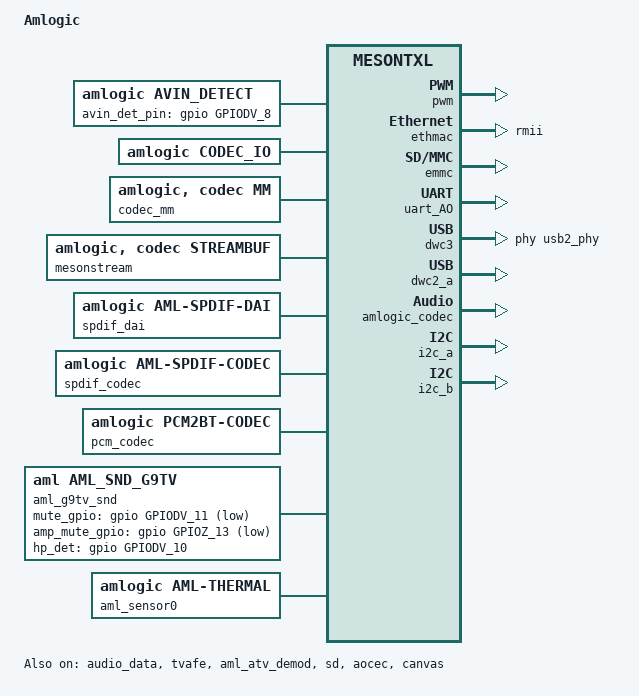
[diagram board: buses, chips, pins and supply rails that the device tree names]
/*
 * arch/arm64/boot/dts/amlogic/txl_t960_p346.dts
 *
 * Copyright (C) 2017 Amlogic, Inc. All rights reserved.
 *
 * This program is free software; you can redistribute it and/or modify
 * it under the terms of the GNU General Public License as published by
 * the Free Software Foundation; either version 2 of the License, or
 * (at your option) any later version.
 *
 * This program is distributed in the hope that it will be useful, but WITHOUT
 * ANY WARRANTY; without even the implied warranty of MERCHANTABILITY or
 * FITNESS FOR A PARTICULAR PURPOSE.  See the GNU General Public License for
 * more details.
 *
*/

/dts-v1/;

#include <dt-bindings/interrupt-controller/arm-gic.h>
#include <dt-bindings/clock/txl.h>
#include <dt-bindings/gpio/txl.h>
#include <dt-bindings/gpio/gpio.h>
#include <dt-bindings/reset/aml_txl.h>
#include <dt-bindings/pwm/pwm.h>
#include <dt-bindings/pwm/meson.h>

#include "mesontxl.dtsi"
#include "mesontxl_t960_p346-panel.dtsi"

/ {
	model = "Amlogic";
	compatible = "amlogic, txl";
	amlogic-dt-id = "txl_p346_v1";
	interrupt-parent = <&gic>;
	#address-cells = <2>;
	#size-cells = <2>;

	aliases {
		serial0 = &uart_AO;
		serial1 = &uart_A;
		serial2 = &uart_B;
		serial3 = &uart_C;
		serial4 = &uart_AO_B;
	};

	memory@00000000 {
		device_type = "memory";
		linux,usable-memory = <0x0 0x0100000 0x0 0x3ff00000>;
	};

	reserved-memory {
		#address-cells = <2>;
		#size-cells = <2>;
		ranges;
		/* global autoconfigured region for contiguous allocations */
		secmon_reserved:linux,secmon {
			compatible = "amlogic, aml_secmon_memory";
			reg = <0x0 0x10000000 0x0 0x200000>;
			no-map;
		};

		secos_reserved:linux,secos {
			status = "disable";
			compatible = "amlogic, aml_secos_memory";
			reg = <0x0 0x05300000 0x0 0x2000000>;
			no-map;
		};

		pstore:aml_pstore {
			compatible = "amlogic, pstore";
			reg = <0x0 0x07300000 0x0 0x100000>;
			no-map;
		};

		fb_reserved:linux,meson-fb {
			compatible = "amlogic, fb-memory";
			size = <0x0 0x2000000>;
			no-map;
		};
		/*di reserved mem*/
		di_reserved:linux,di {
			compatible = "amlogic, di-mem";
			/* buffer_size = 3621952(yuv422 8bit) | 4736064(yuv422 10bit) | 4179008(yuv422 10bit full pack mode) */
			/** 10x3621952=34.6M(0x23) support 8bit **/
			/** 10x4736064=45.2M(0x2e) support 12bit **/
			/** 10x4179008=40M(0x28) support 10bit **/
			size = <0x0 0x2800000>;
			//no-map;
		};
		/*di CMA pool */
		//di_cma_reserved:linux,di_cma {
			//compatible = "shared-dma-pool";
			//reusable;
			/* buffer_size = 3621952(yuv422 8bit) | 4736064(yuv422 10bit) | 4179008(yuv422 10bit full pack mode) */
			/** 10x3621952=34.6M(0x23) support 8bit **/
			/** 10x4736064=45.2M(0x2e) support 12bit **/
			/** 10x4179008=40M(0x28) support 10bit **/
			//size = <0x0 0x02800000>;
			//alignment = <0x0 0x400000>;
		//};
		demod_reserved:linux,demod {
			compatible = "amlogic, demod-mem";
			size = <0x0 0x600000>; //20m
			multi-use;
			//no-map;
		};

		ion_reserved:linux,ion-dev {
			compatible = "amlogic, idev-mem";
			size = <0x0 0x2000000>;
		};

		/*  POST PROCESS MANAGER */
		ppmgr_reserved:linux,ppmgr {
			compatible = "amlogic, ppmgr_memory";
			size = <0x0 0x0>;
			multi-use;
		};
		codec_mm_cma:linux,codec_mm_cma {
			compatible = "shared-dma-pool";
			reusable;
			size = <0x0 0xbc00000>;
			alignment = <0x0 0x400000>;
			linux,contiguous-region;
		};

		picdec_cma_reserved:linux,picdec {
			compatible = "shared-dma-pool";
			reusable;
			size = <0x0 0x0>;
			alignment = <0x0 0x0>;
			linux,contiguous-region;
		};

		/* codec shared reserved */
		codec_mm_reserved:linux,codec_mm_reserved {
			compatible = "amlogic, codec-mm-reserved";
			size = <0x0 0x4100000>;
			alignment = <0x0 0x100000>;
 			//no-map;
		};
		/*  vdin0 CMA pool */
		//vdin0_cma_reserved:linux,vdin0_cma {
		//	compatible = "shared-dma-pool";
		//	linux,phandle = <4>;
		//	reusable;
			/* 3840x2160x2x4  =64+4 M */
		//	size = <0x0 0x04400000>;
		//	alignment = <0x0 0x400000>;
		//};
		/*  vdin1 CMA pool */
		vdin1_cma_reserved:linux,vdin1_cma {
			compatible = "shared-dma-pool";
			linux,phandle = <5>;
			reusable;
			/* 1920x1080x2x4  =16+4 M */
			size = <0x0 0x01400000>;
			alignment = <0x0 0x400000>;
		};
		/*  tvafe CMA pool */
		//tvafe_cma_reserved:linux,tvafe_cma {
		//	compatible = "shared-dma-pool";
		//	linux,phandle = <6>;
		//	reusable;
			/* 5 M */
		//	size = <0x0 0x00800000>;
		//	alignment = <0x0 0x400000>;
		//};
	};

	pwm {
		compatible = "amlogic, meson-pwm";
		status = "okay";
		pwm-outputs 	= <PWM_A>,<PWM_B>,<PWM_C>,<PWM_D>,
			      	  <PWM_E>,<PWM_F>,<PWM_AO_A>,<PWM_AO_B>;
		pwm-outputs-new = <PWM_A>,<PWM_B>,<PWM_C>,<PWM_D>,
				  <PWM_E>,<PWM_F>,<PWM_AO_A>,<PWM_AO_B>,
			          <PWM_A2>,<PWM_B2>,<PWM_C2>,<PWM_D2>,
			          <PWM_E2>,<PWM_F2>,<PWM_AO_A2>,<PWM_AO_B2>;
		reg = <0x0 0xc1108550 0x0 0x30>,
		      <0x0 0xc8100550  0x0 0x10>;
		clocks = <&clock CLK_XTAL>,
			 <&clock CLK_VID_PLL>,
			 <&clock CLK_FPLL_DIV4>,
			 <&clock CLK_FPLL_DIV3>;
		clock-names = "xtal",
			      "vid_pll_clk",
			      "fclk_div4",
			      "fclk_div3";
		clock-select = <XTAL_CLK>,<XTAL_CLK>,<XTAL_CLK>,<XTAL_CLK>,
			       	   <XTAL_CLK>,<XTAL_CLK>,<XTAL_CLK>,<XTAL_CLK>;
		clock-select-new = <XTAL_CLK>,<XTAL_CLK>,<XTAL_CLK>,<XTAL_CLK>,
		                   <XTAL_CLK>,<XTAL_CLK>,<XTAL_CLK>,<XTAL_CLK>,
		                   <XTAL_CLK>,<XTAL_CLK>,<XTAL_CLK>,<XTAL_CLK>,
		                   <XTAL_CLK>,<XTAL_CLK>,<XTAL_CLK>,<XTAL_CLK>;
		                   /*all channels use the default clock source XTAL_CLK*/
		                   /*and you can shoose it in file dt-bindings/pwm/meson.h*/
	};

	sysled {
		compatible = "amlogic, sysled";
		dev_name = "sysled";
		status = "disable";
		//led_gpio = <&gpio GPIODV_24 GPIO_ACTIVE_LOW>;
	};

	avin_detect {
		compatible = "amlogic, avin_detect";
		status = "okay";
		avin_device_num = <1>;
		interrupts = <0 65 1>;
		pinctrl-names = "avin_gpio_disable_pullup";
		pinctrl-0 = <&avin_gpio_disable_pull>;
		avin_det_pin =  <&gpio       GPIODV_8       GPIO_ACTIVE_HIGH>;
		detect_interval_length = <100>;
		set_detect_times = <5>;
		set_fault_tolerance = <1>;
	};

	meson-vout {
		compatible = "amlogic, meson-vout";
		dev_name = "meson-vout";
		status = "okay";
	};

	meson-fb {
		compatible = "amlogic, meson-fb";
		memory-region = <&fb_reserved>;
		dev_name = "meson-fb";
		status = "okay";
		interrupts = <0 3 1
			0 89 1>;
		interrupt-names = "viu-vsync", "rdma";
		mem_size = <0x01800000 0x00100000>; /* fb0/fb1 memory size */
		display_mode_default = "1080p60hz";
		scale_mode = <1>; /** 0:VPU free scale 1:OSD free scale 2:OSD super scale */
		display_size_default = <1920 1080 1920 3240 32>; //1920*1080*4*3 = 0x17BB000
		pxp_mode = <0>; /** 0:normal mode 1:pxp mode */
	};

	ge2d {
		compatible = "amlogic, ge2d";
		dev_name = "ge2d";
		status = "okay";
		interrupts = <0 150 1>;
		interrupt-names = "ge2d";
		clocks = <&clock CLK_VAPB_0>,
			<&clock CLK_GE2D>;
		clock-names = "clk_vapb_0",
				"clk_ge2d";
		resets = <&clock GCLK_IDX_GE2D>;
		reset-names = "ge2d";
	};

	codec_io {
		compatible = "amlogic, codec_io";
		#address-cells=<2>;
		#size-cells=<2>;
		ranges;
		io_cbus_base{
			reg = <0x0 0xC1100000 0x0 0x100000>;
		};
		io_dos_base{
			reg = <0x0 0xc8820000 0x0 0x10000>;
		};
		io_hiubus_base{
			reg = <0x0 0xc883c000 0x0 0x2000>;
		};
		io_aobus_base{
			reg = <0x0 0xc8100000 0x0 0x100000>;
		};
		io_vcbus_base{
			reg = <0x0 0xd0100000 0x0 0x40000>;
		};
		io_dmc_base{
			reg = <0x0 0xc8838000 0x0 0x400>;
		};
	};

	codec_mm {
			compatible = "amlogic, codec, mm";
			memory-region = <&codec_mm_cma &codec_mm_reserved>;
			dev_name = "codec_mm";
			status = "okay";
	};
	ethmac: ethernet@0xc9410000 {
			compatible = "amlogic, gxbb-rmii-dwmac";
			reg = <0x0 0xc9410000 0x0 0x10000
			0x0 0xc8834540 0x0 0x8
			0x0 0xc8834558 0x0 0xc
			0x0 0xc1104484 0x0 0x4>;
			interrupts = <0 8 1
						  0 9 1>;
			phy-mode= "rmii";
			mc_val = <0x1800>;
			resets = <&clock GCLK_IDX_ETHERNET>;
			reset-names = "ethpower";
			interrupt-names = "macirq",
							  "phyirq";
			clocks = <&clock CLK_81>;
			clock-names = "ethclk81";
			internal_phy=<1>;
			wol=<0>;
	};
	mesonstream {
		compatible = "amlogic, codec, streambuf";
		dev_name = "mesonstream";
		status = "okay";
		resets = <&clock GCLK_IDX_HIU_PARSER_TOP
			&clock GCLK_IDX_VPU_INTR
			&clock GCLK_IDX_DEMUX
			&clock GCLK_IDX_DOS>;
		reset-names = "parser_top",
			"vpu_intr",
			"demux",
			"vdec";
	};

	amvideocap {
		compatible = "amlogic, amvideocap";
		dev_name = "amvideocap.0";
		status = "okay";
		max_size = <8>;//8M
	};

	ion_dev {
		compatible = "amlogic, ion_dev";
		memory-region = <&ion_reserved>;
	};

	vdec {
		compatible = "amlogic, vdec";
		dev_name = "vdec.0";
		status = "okay";
		interrupts = <0 3 1
			0 23 1
			0 32 1
			0 43 1
			0 44 1
			0 45 1>;
		interrupt-names = "vsync",
			"demux",
			"parser",
			"mailbox_0",
			"mailbox_1",
			"mailbox_2";
	};

	picdec {
		   compatible = "amlogic, picdec";
		   memory-region = <&picdec_cma_reserved>;
		   dev_name = "picdec";
		   status = "okay";
	};

	ppmgr {
		compatible = "amlogic, ppmgr";//to match of_device_id's compatible member
		memory-region = <&ppmgr_reserved>;
		dev_name = "ppmgr";
		status = "okay";
	};

	deinterlace {
		compatible = "amlogic, deinterlace";
		status = "okay";
		flag_cma = <0>;/*0:use reserved;1:use cma*/
		memory-region = <&di_reserved>;
		//memory-region = <&di_cma_reserved>;
		interrupts = <0 46 1
				0 6 1>;
		interrupt-names = "de_irq",
				"timerc";
		/* nr_size(byte) = 1920*544*2(yuv422 8bit) | 2944*544*2*8(yuv422 10bit) | 2432*544*2(yuv422 10bit full pack mode) */
		/* mtn_size(byte) = 2048*544/2 */
		/* count_size(byte) = 2048*544/2 */
		/* mv_size(byte) = 1920*544*2/5 */
		/* mc_size(byte) = 544*2 */
		/* buffer_size = nr_size + mtn_size + count_size + mv_size + mc_size */
		/* buffer_size = 3621952(yuv422 8bit) | 4736064(yuv422 10bit) | 4179008(yuv422 10bit full pack mode) */
		buffer-size = <4179008>;
		hw-version = <2>;
		/* reserve-iomap = "true"; */
		/* if enable nr10bit, set nr10bit-surpport to 1 */
		nr10bit-surpport = <1>;
	};

	vdin0 {
		compatible = "amlogic, vdin";
		/*memory-region = <&vdin0_cma_reserved>;*/
		dev_name = "vdin0";
		status = "ok";
		reserve-iomap = "true";
		flag_cma = <1>;/*1:share with codec_mm;2:cma alone*/
		/*MByte, if 10bit disable: 64M(YUV422), if 10bit enable: 64*1.5 = 96M(YUV422)
		*if support 4K2K-YUV444-10bit-WR:3840*2160*4*4 ~= 128M
		*if support 4K2K-YUV422-10bit-wr:3840*2160*3*4 ~= 96M
		*if support 4K2K-YUV422-8BIT-WR:3840*2160*2*4 ~= 64M
		*if support 1080p-YUV422-8BIT-WR:1920*1080*2*4 ~= 16M*/
		cma_size = <96>;
		interrupts = <0 83 1>;
		rdma-irq = <2>;
		clocks = <&clock CLK_FPLL_DIV5>,
			<&clock CLK_VDIN_MEAS_CLK>;
		clock-names = "fclk_div5", "cts_vdin_meas_clk";
		vdin_id = <0>;
		/*vdin write mem color depth support:
		*bit0:support 8bit
		*bit1:support 9bit
		*bit2:support 10bit
		*bit3:support 12bit
		*bit4:support yuv422 10bit full pack mode (from txl new add)*/
		tv_bit_mode = <21>;
	};
	vdin1 {
		compatible = "amlogic, vdin";
		memory-region = <&vdin1_cma_reserved>;
		dev_name = "vdin1";
		status = "ok";
		reserve-iomap = "true";
		flag_cma = <0>;/*1:share with codec_mm;0:cma alone*/
		interrupts = <0 85 1>;
		rdma-irq = <4>;
		clocks = <&clock CLK_FPLL_DIV5>,
			<&clock CLK_VDIN_MEAS_CLK>;
		clock-names = "fclk_div5", "cts_vdin_meas_clk";
		vdin_id = <1>;
		/*vdin write mem color depth support:
		*bit0:support 8bit
		*bit1:support 9bit
		*bit2:support 10bit
		*bit3:support 12bit*/
		tv_bit_mode = <1>;
	};
	tvafe {
		compatible = "amlogic, tvafe";
		/*memory-region = <&tvafe_cma_reserved>;*/
		dev_name = "tvafe";
		status = "ok";
		flag_cma = <1>;/*1:share with codec_mm;0:cma alone*/
		cma_size = <5>;/*MByte*/
		reg = <0x0 0xc8842000 0x0 0x2000>;
		reserve-iomap = "true";
		tvafe_id = <0>;
		pinctrl-names = "default";
		tvafe_pin_mux = < /*!!particular sequence, no more and no less!!!*/
                        3       /*// TVAFE_CVBS_IN2,  //CVBS_IN0 = 0,*/
                        1       /*// TVAFE_CVBS_IN0,    //CVBS_IN1,*/
                        2       /*// TVAFE_CVBS_IN1,  //CVBS_IN2*/
                        4       /*// TVAFE_CVBS_IN3,    //CVBS_IN3,*/
		>;
	};
	amlvecm {
		compatible = "amlogic, vecm";
		dev_name = "aml_vecm";
		status = "okay";
		gamma_en = <1>;/*1:enabel ;0:disable*/
		wb_en = <1>;/*1:enabel ;0:disable*/
		cm_en = <1>;/*1:enabel ;0:disable*/
	};

	aml_atv_demod {
		compatible = "amlogic, aml_atv_demod";
		dev_name = "aml_atv_demod";
		status = "okay";
		pinctrl-names="atvdemod_agc";
		pinctrl-0=<&atvdemod_agc>;
		reg = <0x0 0xc8840000 0x0 0x2000>;
		reg_23cf = <0x88188832>;/*default:0x88188832;r840 on haier:0x48188832*/
	};

	hdmirx {
		compatible = "amlogic, hdmirx";
		dev_name = "hdmirx";
		status = "ok";
		pinctrl-names = "hdmirx_pins","hu_det_none";
		pinctrl-0 = <&hdmirx_pins>;
		pinctrl-1 = <&hu_det_none>;
		rx_port_maps = <0x3120>;
		repeat = <0>;
		interrupts = <0 56 1>;
		hdmirx_addr_port = <0xda846000>;
		hdmirx_data_port = <0xda846004>;
		hdmirx_ctrl_port = <0xda846008>;
		clocks = <&clock CLK_HDMIRX_MODET_CLK>,
			<&clock CLK_HDMIRX_CFG_CLK>,
			<&clock CLK_HDMIRX_ACR_REF_CLK>,
			<&clock CLK_HDMIRX_AUDMEAS_CLK>,
			<&clock CLK_XTAL>,
			<&clock CLK_FPLL_DIV5>;
		clock-names = "hdmirx_modet_clk",
			"hdmirx_cfg_clk",
			"hdmirx_acr_ref_clk",
			"hdmirx_audmeas_clk",
			"xtal",
			"fclk_div5";
		hdmirx_id = <0>;
		en_4k_2_2k = <0>;
 	};

	amvenc_avc {
		compatible = "amlogic, amvenc_avc";
		//memory-region = <&amvenc_avc_reserved>;
		//memory-region = <&avc_cma_reserved>;
		dev_name = "amvenc_avc";
		status = "okay";
		interrupts = <0 45 1>;
		interrupt-names = "mailbox_2";
	};

	vpu {
		compatible = "amlogic, vpu";
		dev_name = "vpu";
		status = "ok";
		clk_level = <7>;
		/**	0: 100.0M    1: 166.7M    2: 200.0M
			3: 250.0M    4: 333.3M    5: 400.0M
			6: 500.0M    7: 666.7M */
	};

	bt-dev{
		compatible = "amlogic, bt-dev";
		dev_name = "bt-dev";
		status = "disabled";
		//gpio_reset = <&gpio GPIOX_18 GPIO_ACTIVE_HIGH>;
	};

	rtc{
		compatible = "amlogic, aml_vrtc";
		alarm_reg_addr = <0xc81000a8>;
		timer_e_addr = <0xc1109988>;
		init_date = "2015/01/01";
		status = "okay";
	};

	wifi {
		compatible = "amlogic, aml_wifi";
		dev_name = "aml_wifi";
		status = "disabled";
		//interrupt_pin = <&gpio       GPIOX_7       GPIO_ACTIVE_HIGH>;
		//interrupts = <	0 68 4>;
		//irq_trigger_type = "GPIO_IRQ_HIGH";
		power_on_pin = <&gpio_ao       GPIOAO_5       GPIO_ACTIVE_HIGH>;
		pwm_config = <&wifi_pwm_conf>;
	};
 	wifi_pwm_conf:wifi_pwm_conf{
		pwm_channel1 = <PWM_C>;/*change it actually*/
		pwm_channel2 = <PWM_C2>;
		pwm_channel1_conf = <30541 15270 6>;
		pwm_channel2_conf = <30518 15259 9>;
	};

	emmc {
		compatible = "amlogic, aml_sd_emmc";
		dev_name = "aml_newsd.0";
		status = "okay";
		reg = <0x0 0xd0074000 0x0 0x2000>;
		interrupts = <	0 218 1>;
		pinctrl-names = "emmc_clk_cmd_pins", "emmc_all_pins";
		pinctrl-0 = <&emmc_clk_cmd_pins>;
		pinctrl-1 = <&emmc_conf_pull_up &emmc_conf_pull_done &emmc_all_pins>;
		emmc {
			status = "okay";
			pinname = "emmc";
			ocr_avail = <0x200080>; /**VDD voltage 3.3 ~ 3.4 */
			caps = "MMC_CAP_8_BIT_DATA","MMC_CAP_MMC_HIGHSPEED",
				 "MMC_CAP_SD_HIGHSPEED", "MMC_CAP_NONREMOVABLE","MMC_CAP_1_8V_DDR",
				 "MMC_CAP_HW_RESET", "MMC_CAP_ERASE", "MMC_CAP_CMD23";
			caps2 = "MMC_CAP2_HS200", "MMC_CAP2_HS400";
			f_min = <300000>;
			f_max = <100000000>;
			tx_phase = <3>;
			max_req_size = <0x20000>; /* 256KB */
			gpio_dat3 = <&gpio BOOT_3 GPIO_ACTIVE_HIGH>;
			hw_reset =  <&gpio BOOT_9 GPIO_ACTIVE_HIGH>;
			card_type = <1>; /* 1:mmc card(include eMMC), 2:sd card(include tSD), */
		};
	};

	sd {
		compatible = "amlogic, aml_sd_emmc";
		dev_name = "aml_newsd.0";
		status = "okay";
		reg = <0x0 0xd0072000 0x0 0x2000>;
		interrupts = <	0 217 1
				0 67 1
				0 69 1>;
		pinctrl-names = "sd_clk_cmd_pins", "sd_all_pins", "sd_1bit_pins","sd_clk_cmd_uart_pins","sd_1bit_uart_pins", "ao_to_sd_uart_pins","ao_to_sd_jtag_pins";
		pinctrl-0 = <&sd_clk_cmd_pins>;
		pinctrl-1 = <&sd_all_pins>;
		pinctrl-2 = <&sd_1bit_pins>;
		pinctrl-3 = <&sd_clk_cmd_uart_pins>;
		pinctrl-4 = <&sd_1bit_uart_pins>;
		pinctrl-5 = <&ao_to_sd_uart_pins>;
		pinctrl-6 = <&ao_to_sd_jtag_pins>;
		sd {
			status = "okay";
	   		pinname = "sd";
	   		ocr_avail = <0x00200080>; // 3.3:0x200000, 1.8+3.3:0x00200080
	   		caps = "MMC_CAP_4_BIT_DATA","MMC_CAP_MMC_HIGHSPEED",
	   			"MMC_CAP_SD_HIGHSPEED";
	   			//"MMC_CAP_UHS_SDR12",
	   			//"MMC_CAP_UHS_SDR25","MMC_CAP_UHS_SDR50",
	   			//"MMC_CAP_UHS_SDR104";
	   		f_min = <400000>;
	   		f_max = <100000000>;
	   		max_req_size = <0x20000>; /**128KB*/
			gpio_dat3 = <&gpio CARD_4 GPIO_ACTIVE_HIGH>;
			jtag_pin  = <&gpio CARD_0 GPIO_ACTIVE_HIGH>;
			gpio_cd   = <&gpio CARD_6 GPIO_ACTIVE_HIGH>;
	   		irq_in = <3>;
	   		irq_out = <5>;
	   		card_type = <5>; /* 0:unknown, 1:mmc card(include eMMC), 2:sd card(include tSD), 3:sdio device(ie:sdio-wifi), 4:SD combo (IO+mem) card, 5:NON sdio device(means sd/mmc card), other:reserved */
		};
	};

	partitions: partitions {
		parts = <11>;
		part-0 = <&logo>;
		part-1 = <&recovery>;
		part-2 = <&param>;
		part-3 = <&tee>;
		part-4 = <&crypt>;
		part-5 = <&misc>;
		part-6 = <&boot>;
		part-7 = <&system>;
		part-8 = <&cache>;
		part-9 = <&cri_data>;
		part-10 = <&data>;

		logo:logo{
			pname = "logo";
			size = <0x0 0x2000000>;
			mask = <1>;
		};
		recovery:recovery{
			pname = "recovery";
			size = <0x0 0x2000000>;
			mask = <1>;
		};
		param:param{
			pname = "param";
			size = <0x0 0x8000000>;
			mask = <2>;
		};
		tee:tee{
			pname = "tee";
			size = <0x0 0x800000>;
			mask = <1>;
		};
		crypt:crypt{
			pname = "crypt";
			size = <0x0 0x2000000>;
			mask = <1>;
		};
		misc:misc{
			pname = "misc";
			size = <0x0 0x2000000>;
			mask = <1>;
		};
		boot:boot
		{
			pname = "boot";
			size = <0x0 0x2000000>;
			mask = <1>;
		};
		system:system
		{
			pname = "system";
			size = <0x0 0x40000000>;
			mask = <1>;
		};
		cache:cache
		{
			pname = "cache";
			size = <0x0 0x20000000>;
			mask = <2>;
		};
		cri_data:cri_data
		{
			pname = "cri_data";
			size = <0x0 0x1000000>;
			mask = <2>;
		};
		data:data
		{
			pname = "data";
			size = <0xffffffff 0xffffffff>;
			mask = <4>;
		};
	};

	unifykey {
		compatible = "amlogic, unifykey";
		status = "ok";

		unifykey-num = <14>;
		unifykey-index-0 = <&keysn_0>;
		unifykey-index-1 = <&keysn_1>;
		unifykey-index-2 = <&keysn_2>;
		unifykey-index-3 = <&keysn_3>;
		unifykey-index-4 = <&keysn_4>;
		unifykey-index-5 = <&keysn_5>;
		unifykey-index-6 = <&keysn_6>;
		unifykey-index-7 = <&keysn_7>;
		unifykey-index-8 = <&keysn_8>;
		unifykey-index-9 = <&keysn_9>;
		unifykey-index-10= <&keysn_10>;
		unifykey-index-11 = <&keysn_11>;
		unifykey-index-12 = <&keysn_12>;
		unifykey-index-13 = <&keysn_13>;

                keysn_0: key_0{
			key-name = "usid";
			key-device = "normal";
			key-permit = "read","write","del";
		};
		keysn_1:key_1{
			key-name = "mac";
                        key-device  = "normal";
			key-permit = "read","write","del";
		};
		keysn_2:key_2{
                        key-name = "hdcp";
			key-device = "secure";
                        key-type  = "sha1";
			key-permit = "read","write","del";
		};
		keysn_3:key_3{
			key-name = "secure_boot_set";
			key-device = "efuse";
			key-permit = "write";
		};
		keysn_4:key_4{
			key-name = "mac_bt";
			key-device = "normal";
			key-permit = "read","write","del";
                        key-type  = "mac";
		};
		keysn_5:key_5{
			key-name = "mac_wifi";
			key-device = "normal";
			key-permit = "read","write","del";
                        key-type  = "mac";
		};
		keysn_6:key_6{
			key-name = "hdcp2_tx";
			key-device = "normal";
			key-permit = "read","write","del";
		};
		keysn_7:key_7{
			key-name = "hdcp2_rx";
			key-device = "normal";
			key-permit = "read","write","del";
		};
		keysn_8:key_8{
			key-name = "widevinekeybox";
			key-device = "secure";
			key-type = "sha1";
			key-permit = "read","write","del";
		};
		keysn_9:key_9{
			key-name = "deviceid";
			key-device = "normal";
			key-permit = "read","write","del";
		};
		keysn_10:key_10{
			key-name = "hdcp22_fw_private";
			key-device = "secure";
			key-permit = "read","write","del";
		};
		keysn_11:key_11{
			key-name = "hdcp22_rx_private";
			key-device = "secure";
			key-permit = "read","write","del";
		};
		keysn_12:key_12{
			key-name = "hdcp22_rx_fw";
			key-device = "normal";
			key-permit = "read","write","del";
		};
		keysn_13:key_13{
			key-name = "hdcp14_rx";
			key-device = "normal";
			key-type  = "sha1";
			key-permit = "read","write","del";
		};
        };//End unifykey

	aocec: aocec {
		compatible = "amlogic, amlogic-aocec";
		device_name = "aocec";
		status = "okay";
		vendor_name = "Amlogic"; /* Max Chars: 8     */
		vendor_id = <0x000000>; /* Refer to http://standards.ieee.org/develop/regauth/oui/oui.txt   */
		product_desc = "TXL"; /* Max Chars: 16    */
		cec_osd_string = "AML_TV"; /* Max Chars: 14    */
		port_num = <3>;
		ee_cec;
		arc_port_mask = <0x2>;
		interrupts = <0 56 1>;
		interrupt-names = "hdmi_eecec";
		pinctrl-names = "hdmitx_eecec";
		pinctrl-0=<&hdmitx_eecec>;
		reg = <0x0 0xc810023c 0x0 0x4
		       0x0 0xc8100000 0x0 0x200
		       0x0 0xda83e000 0x0 0x10
		       0x0 0xc883c000 0x0 0x400>;
	};

	tvout {
		compatible = "amlogic, tvout";
		dev_name = "tvout";
		status = "disable";
	};

	uart_AO: serial@c81004c0 {
		compatible = "amlogic, meson-uart";
		reg = <0x0 0xc81004c0 0x0 0x18>;
		interrupts = <0 193 1>;
		status = "okay";
		clocks = <&clock CLK_XTAL>;
		clock-names = "clk_uart";
		xtal_tick_en = <1>;
		fifosize = < 64 >;
		pinctrl-names = "default";
		pinctrl-0 = <&uart_ao_a_pins>;
		support-sysrq = <0>;	/* 0 not support , 1 support */
	};
	uart_AO_B: serial@c81004e0 {
		compatible = "amlogic, meson-uart";
		reg = <0x0 0xc81004e0 0x0 0x18>;
		interrupts = <0 197 1>;
		status = "disable";
		clocks = <&clock CLK_XTAL>;
		clock-names = "clk_uart";
		fifosize = < 64 >;
		pinctrl-names = "default";
		pinctrl-0 = <&uart_ao_b_pins>;
	};
	uart_A: serial@c11084c0 {
		compatible = "amlogic, meson-uart";
		reg = <0x0 0xc11084c0 0x0 0x18>;
		interrupts = <0 26 1>;
		status = "disabled";
		clocks = <&clock CLK_XTAL>;
		clock-names = "clk_uart";
		fifosize = < 128 >;
		pinctrl-names = "default";
		pinctrl-0 = <&uart_a_pins>;
		resets = <&clock GCLK_IDX_UART0>;
	};
	uart_B: serial@c11084dc {
		compatible = "amlogic, meson-uart";
		reg = <0x0 0xc11084dc 0x0 0x18>;
		interrupts = <0 75 1>;
		status = "disable";
		clocks = <&clock CLK_XTAL>;
		clock-names = "clk_uart";
		fifosize = < 64 >;
		pinctrl-names = "default";
		pinctrl-0 = <&uart_b_pins>;
		resets = <&clock GCLK_IDX_UART1>;
	};
	uart_C: serial@c1108700 {
		compatible = "amlogic, meson-uart";
		reg = <0x0 0xc1108700 0x0 0x18>;
		interrupts = <0 93 1>;
		status = "disable";
		clocks = <&clock CLK_XTAL>;
		clock-names = "clk_uart";
		fifosize = < 64 >;
		resets = <&clock GCLK_IDX_UART2>;
	};

	canvas{
		compatible = "amlogic, meson, canvas";
		dev_name = "amlogic-canvas";
		status = "ok";
		reg = <0x0 0xc8838000 0x0 0x400>;
	};

	rdma{
		compatible = "amlogic, meson, rdma";
		dev_name = "amlogic-rdma";
		status = "ok";
		interrupts = <0 89 1>;
		interrupt-names = "rdma";
	};

	dwc3: dwc3@c9000000 {
		compatible = "synopsys, dwc3";
		reg = <0x0 0xc9000000 0x0 0x100000>;
		interrupts = <0 30 4>;
		usb-phy = <&usb2_phy>, <&usb3_phy>;
		cpu-type = "gxl";
		clock-src = "usb3.0";
	};

	usb2_phy: usb2phy@d0078000 {
		compatible = "amlogic, amlogic-new-usb2";
		portnum = <4>;
		reg = <0x0 0xd0078000 0x0 0x80>;
	};

	usb3_phy: usb3phy@d0078080 {
		compatible = "amlogic, amlogic-new-usb3";
		portnum = <0>;
		reg = <0x0 0xd0078080 0x0 0x20>;
	};

	dwc2_a {
		compatible = "amlogic,dwc2";
		device_name = "dwc2_a";
		reg = <0x0 0xc9100000 0x0 0x40000>;
		status = "okay";
		interrupts = <0 31 4>;
		pl-periph-id = <0>; /** lm name */
		clock-src = "usb0"; /** clock src */
		port-id = <0>;  /** ref to mach/usb.h */
		port-type = <2>;        /** 0: otg, 1: host, 2: slave */
		port-speed = <0>; /** 0: default, high, 1: full */
		port-config = <0>; /** 0: default */
		port-dma = <0>; /** 0: default, 1: single, 2: incr, 3: incr4, 4: incr8, 5: incr16, 6: disable*/
		port-id-mode = <0>; /** 0: hardware, 1: sw_host, 2: sw_slave*/
		usb-fifo = <728>;
		cpu-type = "gxl";
		controller-type = <1>; /** 0: normal, 1: otg+dwc3 host only, 2: otg+dwc3 device only*/
		phy-reg = <0xd0078000>;
		phy-reg-size = <0xa0>;
		resets = <&clock GCLK_IDX_USB_GENERAL
					&clock GCLK_IDX_MISC_USB1_TO_DDR
					&clock GCLK_IDX_USB1>;
		reset-names = "usb_general",
						"usb1",
						"usb1_to_ddr";
	};

	/* AUDIO MESON8 DEVICES */
	i2s_dai: I2S {
		#sound-dai-cells = <0>;
		resets = <
			&clock GCLK_IDX_AIU_AI_TOP_GLUE
			&clock GCLK_IDX_AUD_BUF_ABD
			&clock GCLK_IDX_AIU_I2S_OUT
			&clock GCLK_IDX_AIU_AMCLK_MEASURE
			&clock GCLK_IDX_AIU_AIFIFO2
			&clock GCLK_IDX_AIU_AUD_MIXER
			&clock GCLK_IDX_AIU_MIXER_REG
			&clock GCLK_IDX_AIU_ADC
			&clock GCLK_IDX_AIU_TOP_LEVEL
			&clock GCLK_IDX_AIU_AOCLK
			&clock GCLK_IDX_AUD_IN
		>;
		reset-names =
			"top_glue",
			"aud_buf",
			"i2s_out",
			"amclk_measure",
			"aififo2",
			"aud_mixer",
			"mixer_reg",
			"adc",
			"top_level",
			"aoclk",
			"aud_in";
		clocks = <&clock CLK_MPLL2>,
			<&clock CLK_AMCLK>;
		clock-names = "mpll2", "mclk";
		compatible = "amlogic, aml-i2s-dai";
	};
	spdif_dai: SPDIF {
		#sound-dai-cells = <0>;
		compatible = "amlogic, aml-spdif-dai";
		resets = <
			&clock GCLK_IDX_AIU_IEC958
			&clock GCLK_IDX_AIU_ICE958_AMCLK
		>;
		reset-names =
			"iec958",
			"iec958_amclk";
		clocks = <&clock CLK_MPLL1>,
			<&clock CLK_I958>,
			<&clock CLK_AMCLK>,
			<&clock CLK_SPDIF>,
			<&clock CLK_81>;
		clock-names = "mpll1", "i958", "mclk", "spdif", "clk_81";
	};
	pcm_dai: PCM {
		#sound-dai-cells = <0>;
		compatible = "amlogic, aml-pcm-dai";
		pinctrl-names = "aml_audio_btpcm";
		pinctrl-0 = <&audio_btpcm_pins>;
		clocks = <&clock CLK_MPLL0>,
			<&clock CLK_PCM_MCLK>,
			<&clock CLK_PCM_SCLK>;
		clock-names = "mpll0", "pcm_mclk", "pcm_sclk";
		pcm_mode = <1>;	/* 0=slave mode, 1=master mode */
	};
	i2s_plat: i2s_platform {
		compatible = "amlogic, aml-i2s";
		interrupts = <0 29 1>;
	};
	pcm_plat: pcm_platform {
		compatible = "amlogic, aml-pcm";
	};
	spdif_codec: spdif_codec{
		#sound-dai-cells = <0>;
		compatible = "amlogic, aml-spdif-codec";
		pinctrl-names = "aml_audio_spdif";
		pinctrl-0 = <&audio_spdif_pins>;
	};
	pcm_codec: pcm_codec{
		#sound-dai-cells = <0>;
		compatible = "amlogic, pcm2BT-codec";
	};
	/* endof AUDIO MESON8 DEVICES */

	/* AUDIO board specific */
	dummy_codec:dummy{
		#sound-dai-cells = <0>;
		compatible = "amlogic, aml_dummy_codec";
		status = "disable";
	};
	amlogic_codec:t9015S{
		#sound-dai-cells = <0>;
		compatible = "amlogic, aml_codec_T9015S";
		reg = <0x0 0xc8832000 0x0 0x14>;
		status = "okay";
	};
	aml_g9tv_snd {
		compatible = "aml, aml_snd_g9tv";
		status = "okay";
		aml-sound-card,format = "i2s";
		aml_sound_card,name = "AML-G9TVAUDIO";
		pinctrl-names = "aml_snd_g9tv";
		pinctrl-0 = <&audio_pins>;
		/*avout mute gpio, if av_mute_inv = 1, invert gpio*/
		mute_gpio-gpios = <&gpio GPIODV_11 GPIO_ACTIVE_LOW>;
		av_mute_inv = <0>;
		/*after sleep time, unmute avout*/
		sleep_time = <0>;
		/*analog amp mute pinmux*/
		amp_mute_gpio-gpios = <&gpio GPIOZ_13 GPIO_ACTIVE_LOW>;
		amp_mute_inv = <0>;
		/* if 1, enable switch AV / HS Detect */
		av_hs_switch = <1>;
		hp_det-gpios = <&gpio GPIODV_10 GPIO_ACTIVE_HIGH>;
		hp_det_inv = <0>;
		/*audio soc*/
		cpu_list = <&cpudai0 &cpudai1 &cpudai2>;
		codec_list = <&codec0 &codec1 &codec2>;
		plat_list = <&i2s_plat &i2s_plat &pcm_plat>;
		cpudai0: cpudai0 {
			sound-dai = <&i2s_dai>;
		};
		cpudai1: cpudai1 {
			sound-dai = <&spdif_dai>;
		};
		cpudai2: cpudai2 {
			sound-dai = <&pcm_dai>;
		};
		codec0: codec0 {
			sound-dai = <&amlogic_codec>;
		};
		codec1: codec1 {
			sound-dai = <&spdif_codec>;
		};
		codec2: codec2 {
			sound-dai = <&pcm_codec>;
		};
		aml_EQ_DRC {
			eq_table = /bits/ 32 <
				/*channel 1*/
				0x00800000 0x00000000 0x00000000 0x00000000 0x00000000 /*eq_coef0*/
				0x0080372b 0x0301afb6 0x007e1eb3 0x0301afb6 0x007e55de /*eq_coef1*/
				0x007f9c8d 0x0301d300 0x007e9cfe 0x0301d300 0x007e398c /*eq_coef2*/
				0x0083d5aa 0x031dee0a 0x005e8bb8 0x031dee0a 0x00626163 /*eq_coef3*/
				0x007e0fc8 0x0308897c 0x007a2aa0 0x0308897c 0x00783a68 /*eq_coef4*/
				0x00800000 0x00000000 0x00000000 0x00000000 0x00000000 /*eq_coef5*/
				0x0078eb9b 0x0333b014 0x0066ba2a 0x0333b014 0x005fa5c5 /*eq_coef6*/
				0x009712e4 0x037db296 0x0034b3cd 0x037db296 0x004bc6b0 /*eq_coef7*/
				0x00800000 0x00000000 0x00000000 0x00000000 0x00000000 /*eq_coef8*/
				0x00800000 0x00000000 0x00000000 0x00000000 0x00000000 /*eq_coef9*/
				/*channel 2*/
				0x00800000 0x00000000 0x00000000 0x00000000 0x00000000 /*eq_coef0*/
				0x0080372b 0x0301afb6 0x007e1eb3 0x0301afb6 0x007e55de /*eq_coef1*/
				0x007f9c8d 0x0301d300 0x007e9cfe 0x0301d300 0x007e398c /*eq_coef2*/
				0x0083d5aa 0x031dee0a 0x005e8bb8 0x031dee0a 0x00626163 /*eq_coef3*/
				0x007e0fc8 0x0308897c 0x007a2aa0 0x0308897c 0x00783a68 /*eq_coef4*/
				0x00800000 0x00000000 0x00000000 0x00000000 0x00000000 /*eq_coef5*/
				0x0078eb9b 0x0333b014 0x0066ba2a 0x0333b014 0x005fa5c5 /*eq_coef6*/
				0x009712e4 0x037db296 0x0034b3cd 0x037db296 0x004bc6b0 /*eq_coef7*/
				0x00800000 0x00000000 0x00000000 0x00000000 0x00000000 /*eq_coef8*/
				0x00800000 0x00000000 0x00000000 0x00000000 0x00000000 /*eq_coef9*/
			>;
			drc_table = /bits/ 32 <
				0x0000111c 0x0380111c /*drc_ae && drc_ae_1m*/
				0x00081bfc 0x03881bfc /*drc_aa && drc_aa_1m*/
				0x00001571 0x03801571 /*drc_ad && drc_ad_1m*/
			>;
			drc_tko_table = /bits/ 32 <
				0x00000000 0xc4000000 0x00060000 /*offset, thd, k*/
				0x00000000 0xf6000000 0x00028000 /*offset, thd, k*/
			>;
		};
 	};
	amaudio2 {
		compatible = "amlogic, aml_amaudio2";
		status = "okay";
		interrupts = <0 48 1>;
 	};

	aml_sensor0: aml-sensor@0 {
		compatible = "amlogic, aml-thermal";
		device_name = "thermal";
		#thermal-sensor-cells = <1>;
		cooling_devices {
			cpufreq_cool_cluster0 {
				min_state = <1000000>;
				dyn_coeff = <140>;
				cluster_id = <0>;
				node_name = "cpus";
				device_type = "cpufreq";
			};
			cpucore_cool_cluster0 {
				min_state = <1>;
				dyn_coeff = <0>;
				cluster_id = <0>;
				node_name = "cpu_core_cluster0";
				device_type = "cpucore";
			};
			gpufreq_cool {
				min_state = <400>;
				dyn_coeff = <437>;
				cluster_id = <0>;
				node_name = "mali";
				device_type = "gpufreq";
			};
			gpucore_cool {
				min_state = <1>;
				dyn_coeff = <0>;
				cluster_id = <0>;
				node_name = "thermal_gpu_cores";
				device_type = "gpucore";
			};
		};
		cpu_cluster0:cpu_core_cluster0 {
			#cooling-cells = <2>; /* min followed by max */
		};
		gpucore:thermal_gpu_cores {
			#cooling-cells = <2>; /* min followed by max */
		};
	};

	dvb {
		compatible = "amlogic, dvb";
		dev_name = "dvb";
		status = "okay";
		/*"parallel","serial","disable"*/
		ts2 = "parallel";
		ts2_control = <0>;
		ts2_invert = <0>;
		resets = <&clock GCLK_IDX_DEMUX
				&clock GCLK_IDX_ASYNC_FIFO
				&clock GCLK_IDX_AHB_ARB0
				&clock GCLK_IDX_HIU_PARSER_TOP>;
		reset-names = "demux", "asyncfifo", "ahbarb0", "uparsertop";
	};
	dvbfe {
		compatible = "amlogic, dvbfe";
		dev_name = "dvbfe";
		status = "okay";
		dtv_demod0 = "AMLDEMOD";
		fe0_dtv_demod = <0>;
		fe0_ts = <2>;
		fe0_dev = <0>;
		dtv_demod0_mem = <0>;
		dtv_demod0_spectrum = <1>;
		memory-region = <&demod_reserved>;
		tuner0 = "r842_tuner";
		tuner0_i2c_adap_id = <2>;
		tuner0_i2c_addr = <0xf6>;
		//tuner0_reset_value = <0>;
		//tuner0_reset_gpio =  "GPIOY_10" ;  /*GPIOX_8   76*/
		fe0_tuner = <0>;
		atv_demod0 = "aml_atv_demod";
		fe0_atv_demod = <0>;
	};

	thermal-zones {
		soc_thermal {
			polling-delay = <1000>;
			polling-delay-passive = <100>;
			sustainable-power = <2150>;

			thermal-sensors = <&aml_sensor0 3>;

			trips {
				switch_on: trip-point@0 {
					temperature = <70000>;
					hysteresis = <1000>;
					type = "passive";
				};
				control: trip-point@1 {
					temperature = <80000>;
					hysteresis = <1000>;
					type = "passive";
				};
				hot: trip-point@2 {
					temperature = <85000>;
					hysteresis = <5000>;
					type = "hot";
				};
				critical: trip-point@3 {
					temperature = <260000>;
					hysteresis = <1000>;
					type = "critical";
				};
			};

			cooling-maps {
				cpufreq_cooling_map {
					trip = <&control>;
					cooling-device = <&cpus 0 4>;
					contribution = <1024>;
				};
				cpucore_cooling_map {
					trip = <&control>;
					cooling-device = <&cpu_cluster0 0 3>;
					contribution = <1024>;
				};
				gpufreq_cooling_map {
					trip = <&control>;
					cooling-device = <&gpu 0 4>;
					contribution = <1024>;
				};
				gpucore_cooling_map {
					trip = <&control>;
					cooling-device = <&gpucore 0 2>;
					contribution = <1024>;
				};
			};
		};
	};

}; /* end of / */

	&i2c_a {
		status = "okay";
		pinctrl-names="default";
		pinctrl-0=<&i2c_a_master>;
	};
	&i2c_b {
		status = "okay";
		pinctrl-names="default";
		pinctrl-0=<&i2c_b_master>;
	};

&pinmux {
	audio_pins:audio_pin{
		amlogic,setmask=<4 0x00000780>;
		amlogic,clrmask=<4 0x0000000e
				 3 0x001c0000>;
		amlogic,pins = "GPIOZ_10","GPIOZ_11","GPIOZ_12","GPIOZ_14";
	};
	audio_spdif_pins:audio_pin1{
		amlogic,setmask=<3 0x40000000>; /*spdif_out*/
		amlogic,clrmask=<3 0x00200000>;
		amlogic,pins ="GPIOZ_17"; /*spdif_out*/
	};

	audio_btpcm_pins:audio_btpcm_pins{
		/* BT PCM PINMUX SETTING*/
		amlogic,setmask=<4 0x1e000>;
		amlogic,clrmask=<4 0xf3f00000>;
		amlogic,pins ="GPIOZ_0", "GPIOZ_1", "GPIOZ_2", "GPIOZ_3";
	};

	hdmirx_pins: hdmirx_pins {
                amlogic,setmask = <5  0xffff0000>;
                amlogic,clrmask = <5  0x0000ff00>;
                amlogic,pins = "GPIOW_6","GPIOW_8",
                        "GPIOW_10","GPIOW_12",
                        "GPIOW_14","GPIOW_16",
                        "GPIOW_17","GPIOW_18","GPIOW_19","GPIOW_20";
        };
	hu_det_none: hu_det_none {
		amlogic,setmask = <5  0xffff0000>,
			<AO 0x1800>;
		amlogic,clrmask = <5  0x0000ff00>;
		amlogic,pins = "GPIOW_4";
	};
	avin_gpio_disable_pull:avin_gpio_disable_pull{
		amlogic,pins = "GPIODV_8";
		amlogic,enable-output=<1>;
		amlogic,pullupen=<0>;
	};
};

&pinmux {
	bl_pwm_on_pins:bl_pwm_on_pin {
		amlogic,setmask = <4 0x00010000>;
		amlogic,clrmask = <4 0x00008000 3 0x00200000>;
		amlogic,pins = "GPIOZ_6";
	};
	bl_pwm_vs_on_pins:bl_pwm_vs_on_pin {
		amlogic,setmask = <4 0x00008000>;
		amlogic,clrmask = <4 0x00010000 3 0x00200000>;
		amlogic,pins = "GPIOZ_6";
	};
	bl_pwm_combo_0_on_pins:bl_pwm_combo_0_on_pin {
		amlogic,setmask = <4 0x00010000>;
		amlogic,clrmask = <4 0x00008000 3 0x00200000>;
		amlogic,pins = "GPIOZ_6";
	};
	bl_pwm_combo_1_on_pins:bl_pwm_combo_1_on_pin {
		amlogic,setmask = <4 0x00004000>;
		amlogic,clrmask = <4 0x00002000 3 0x00200000>;
		amlogic,pins = "GPIOZ_7";
	};
	bl_pwm_combo_0_vs_on_pins:bl_pwm_combo_0_vs_on_pin {
		amlogic,setmask = <4 0x00008000>;
		amlogic,clrmask = <4 0x00010000 3 0x00200000>;
		amlogic,pins = "GPIOZ_6";
	};
	bl_pwm_combo_1_vs_on_pins:bl_pwm_combo_1_vs_on_pin {
		amlogic,setmask = <4 0x00002000>;
		amlogic,clrmask = <4 0x00004000 3 0x00200000>;
		amlogic,pins = "GPIOZ_7";
	};
};

&audio_data{
	status = "okay";
};
